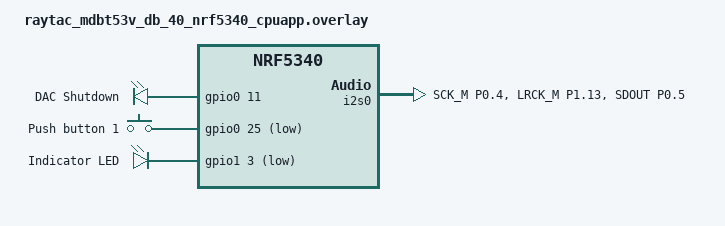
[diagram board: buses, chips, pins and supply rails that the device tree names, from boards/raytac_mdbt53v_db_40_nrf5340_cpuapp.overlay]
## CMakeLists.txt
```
# SPDX-License-Identifier: Apache-2.0

cmake_minimum_required(VERSION 3.20.0)
find_package(Zephyr REQUIRED HINTS $ENV{ZEPHYR_BASE})
project(bap_unicast_server)

target_sources(app PRIVATE
  src/main.c
  src/audio_i2s.c
)

zephyr_sources_ifdef(CONFIG_LIBLC3 src/stream_lc3.c)
zephyr_sources_ifdef(CONFIG_BT_AUDIO_TX src/stream_tx.c)

zephyr_library_include_directories(${ZEPHYR_BASE}/samples/bluetooth)
```

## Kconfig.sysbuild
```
# Copyright 2023 Nordic Semiconductor ASA
# SPDX-License-Identifier: Apache-2.0

source "${ZEPHYR_BASE}/share/sysbuild/Kconfig"

config NRF_DEFAULT_IPC_RADIO
	default y

config NETCORE_IPC_RADIO_BT_HCI_IPC
	default y   
```

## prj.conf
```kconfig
# prj.conf

# ---------------------------------
# 0. Basic GPIO & Button Config
# ---------------------------------
CONFIG_GPIO=y
CONFIG_INPUT=y
CONFIG_LED=y

# ---------------------------------
# 1. Core Bluetooth Subsystem
# ---------------------------------
CONFIG_BT=y
CONFIG_BT_MAX_CONN=4
CONFIG_BT_MAX_PAIRED=4
CONFIG_BT_EXT_ADV=y
CONFIG_BT_PRIVACY=y
CONFIG_BT_SETTINGS=y
CONFIG_BT_DEVICE_APPEARANCE=2369
#0x2369 is the assigned code for an earbud
CONFIG_BT_DEVICE_NAME="nRF5340_LE_Audio"
CONFIG_BT_GATT_DYNAMIC_DB=y
# Enables the GATT Client, allowing the stack to handle and confirm Indications (0x1D)
CONFIG_BT_GATT_CLIENT=y
CONFIG_BT_GATT_AUTO_DISCOVER_CCC=y
# Security - allegedly allows pairing over BLE
CONFIG_BT_SMP=y
# Enhanced ATT and Dependencies
CONFIG_BT_L2CAP_DYNAMIC_CHANNEL=y
CONFIG_BT_L2CAP_ECRED=y
CONFIG_BT_EATT=y
CONFIG_BT_GATT_READ_MULTIPLE=y
# CONFIG_CLOCK_CONTROL_NRF_K32SRC_XTAL=y commented out because its apparently set in .config by default
CONFIG_BT_GAP_AUTO_UPDATE_CONN_PARAMS=n
# Set preferred values based on BT_BAP_CONN_PARAM_RELAXED
CONFIG_BT_PERIPHERAL_PREF_MIN_INT=50
CONFIG_BT_PERIPHERAL_PREF_MAX_INT=70
CONFIG_BT_PERIPHERAL_PREF_LATENCY=0
CONFIG_BT_PERIPHERAL_PREF_TIMEOUT=400

# ---------------------------------
# 2. Security (CRITICAL for LE Audio)
# ---------------------------------
CONFIG_BT_SMP=y
CONFIG_BT_BONDABLE=y

# Persist Bluetooth bonds and identity keys in the board's storage flash area.
CONFIG_SETTINGS=y
CONFIG_SETTINGS_NVS=y
CONFIG_NVS=y
CONFIG_FLASH=y
CONFIG_FLASH_MAP=y

# ---------------------------------
# 3. LE Audio & BAP Settings
# ---------------------------------
CONFIG_BT_AUDIO=y
CONFIG_BT_PERIPHERAL=y
CONFIG_UTF8=y
CONFIG_BT_ISO_PERIPHERAL=y
CONFIG_BT_ISO_TX_BUF_COUNT=3
CONFIG_BT_ISO_RX_BUF_COUNT=5
# # Support an ISO channel per ASE
CONFIG_BT_ISO_MAX_CHAN=4
CONFIG_BT_ISO_RX_MTU=251
CONFIG_BT_ISO_TX_MTU=251
CONFIG_I2S=y
CONFIG_BT_ASCS=y
CONFIG_BT_ASCS_MAX_ASE_SNK_COUNT=1 
# temporarily set ASE_SNK to 1, reset to 2 later
CONFIG_BT_ASCS_MAX_ASE_SRC_COUNT=1
CONFIG_BT_BAP_UNICAST_SERVER=y
CONFIG_BT_PAC_SNK=y
CONFIG_BT_PAC_SNK_NOTIFIABLE=y
CONFIG_BT_PAC_SRC=y
CONFIG_BT_PAC_SRC_NOTIFIABLE=y
# Volume Control
CONFIG_BT_VCP_VOL_REND=y
# Media Control
CONFIG_BT_MCC=y
CONFIG_BT_MCC_READ_MEDIA_STATE=y
CONFIG_BT_MCC_SET_MEDIA_CONTROL_POINT=y
# CONFIG_BT_VCP_VOL_REND_VOCS_INSTANCE_COUNT=0
# CONFIG_BT_VCP_VOL_REND_AICS_INSTANCE_COUNT=0
# # Stereo/headset settings
# CONFIG_BT_CSIP_SET_MEMBER=y
# CONFIG_BT_AUDIO_CONCURRENT_RX_STREAMS_MAX=2
# CONFIG_AUDIO_DECODE_CHANNELS_MAX=2
# CONFIG_AUDIO_SOURCE_I2S=y

# ---------------------------------
# 4. CAP & TMAP (Telephony & Media)
# ---------------------------------
# CONFIG_BT_CAP_ACCEPTOR=y
# CONFIG_BT_TMAP=y

# ---------------------------------
# 5. Codec (LC3) & Hardware
# ---------------------------------
CONFIG_FPU=y
CONFIG_LIBLC3=y
CONFIG_SW_CODEC_LC3_T2_SOFTWARE=y
CONFIG_LC3_ENC_CHAN_MAX=1
CONFIG_LC3_DEC_CHAN_MAX=2
CONFIG_MBEDTLS_ENABLE_HEAP=y
CONFIG_MBEDTLS_HEAP_SIZE=2048
# Increase buffer for incoming stream metadata from Android/iOS
CONFIG_BT_AUDIO_CODEC_CFG_MAX_METADATA_SIZE=64

# ---------------------------------
# 6. Logging
# ---------------------------------
CONFIG_LOG=y
CONFIG_INFO_REPORTING_INTERVAL=5000
CONFIG_USE_SEGGER_RTT=y
CONFIG_RTT_CONSOLE=y
CONFIG_UART_CONSOLE=n
CONFIG_LOG_BACKEND_RTT=y

# ---------------------------------
# 7. Memory & Buffers (For Audio Metadata)
# ---------------------------------
CONFIG_BT_ATT_PREPARE_COUNT=2

# Always enable bidirectional stream support on the server.
# The client may not support it, but the server should be able to handle it if the client does.
# CONFIG_STREAM_BIDIRECTIONAL=y

# ---------------------------------
# 8. Thread Stack Sizes (Required for LE Audio/LC3)
# ---------------------------------
CONFIG_MAIN_STACK_SIZE=8192
CONFIG_SYSTEM_WORKQUEUE_PRIORITY=-1
CONFIG_SYSTEM_WORKQUEUE_STACK_SIZE=4096
CONFIG_BT_RX_STACK_SIZE=4096
```

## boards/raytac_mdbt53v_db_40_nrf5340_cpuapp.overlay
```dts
/* SPDX-License-Identifier: Apache-2.0 */

#include <zephyr/dt-bindings/pinctrl/nrf-pinctrl.h>

&pinctrl {
	i2s0_default: i2s0_default {
		group1 {
			psels = <NRF_PSEL(I2S_SCK_M, 0, 4)>,
					<NRF_PSEL(I2S_LRCK_M, 1, 13)>,
					<NRF_PSEL(I2S_SDOUT, 0, 5)>;
		};
	};

	i2s0_sleep: i2s0_sleep {
		group1 {
			psels = <NRF_PSEL(I2S_SCK_M, 0, 4)>,
					<NRF_PSEL(I2S_LRCK_M, 1, 13)>,
					<NRF_PSEL(I2S_SDOUT, 0, 5)>;
			low-power-enable;
		};
	};
};

/ {
	hw_ctrl {
		compatible = "gpio-leds";

		dac_sd: dac_sd {
			gpios = <&gpio0 11 GPIO_ACTIVE_HIGH>;
			label = "DAC Shutdown";
		};
	};

	aliases {
		dac-sd = &dac_sd;
	};
};

&button0 {
	gpios = <&gpio0 25 (GPIO_PULL_UP | GPIO_ACTIVE_LOW)>;
	label = "Push button 1";
	zephyr,code = <INPUT_KEY_0>;
};

&led0 {
	gpios = <&gpio1 3 GPIO_ACTIVE_LOW>;
	label = "Indicator LED";
};

&i2s0 {
	status = "okay";
	pinctrl-0 = <&i2s0_default>;
	pinctrl-1 = <&i2s0_sleep>;
	pinctrl-names = "default", "sleep";
};

&vregmain {
	regulator-initial-mode = <NRF5X_REG_MODE_LDO>;
};

&vregradio {
	regulator-initial-mode = <NRF5X_REG_MODE_LDO>;
};

&uart0 {
	status = "disabled";
};

&uart1 {
	status = "disabled";
};

&i2c1 {
	status = "disabled";
};

&qspi {
	status = "disabled";
};

&gpio_fwd {
	status = "disabled";
};

&spi4 {
	status = "disabled";
};
```

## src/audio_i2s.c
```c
/*
 * SPDX-License-Identifier: Apache-2.0
 */

#include <errno.h>
#include <stdbool.h>
#include <stdint.h>
#include <string.h>

#include <zephyr/device.h>
#include <zephyr/drivers/gpio.h>
#include <zephyr/drivers/i2s.h>
#include <zephyr/kernel.h>
#include <zephyr/logging/log.h>

#include "audio_i2s.h"

LOG_MODULE_REGISTER(audio_i2s, LOG_LEVEL_INF);

#define I2S_SAMPLE_RATE_HZ       48000U
#define I2S_FRAME_DURATION_US    10000U
#define I2S_SAMPLES_PER_FRAME    ((I2S_SAMPLE_RATE_HZ * I2S_FRAME_DURATION_US) / 1000000U)
#define I2S_CHANNEL_COUNT        2U
#define I2S_TX_BLOCK_SIZE        (I2S_SAMPLES_PER_FRAME * I2S_CHANNEL_COUNT * sizeof(int16_t))
#define I2S_TX_BLOCK_COUNT       4U
#define PCM_QUEUE_DEPTH          6U
#define I2S_SD_MODE_PIN          13U
#define I2S_WORKER_STACK_SIZE    2048U
#define I2S_WORKER_PRIORITY      5

struct audio_pcm_frame {
	bool stop;
	int16_t samples[I2S_SAMPLES_PER_FRAME];
};

K_MEM_SLAB_DEFINE(i2s_tx_slab, I2S_TX_BLOCK_SIZE, I2S_TX_BLOCK_COUNT, 4);
K_MSGQ_DEFINE(pcm_queue, sizeof(struct audio_pcm_frame), PCM_QUEUE_DEPTH, 4);
K_THREAD_STACK_DEFINE(i2s_worker_stack, I2S_WORKER_STACK_SIZE);

static struct k_thread i2s_worker_thread;
static const struct device *const i2s_dev = DEVICE_DT_GET(DT_NODELABEL(i2s0));
static const struct device *const gpio0_dev = DEVICE_DT_GET(DT_NODELABEL(gpio0));
static bool initialized;

static void i2s_worker(void *arg1, void *arg2, void *arg3)
{
	bool tx_started = false;
	uint8_t startup_blocks_queued = 0U;

	ARG_UNUSED(arg1);
	ARG_UNUSED(arg2);
	ARG_UNUSED(arg3);

	while (true) {
		struct audio_pcm_frame frame;
		void *tx_block;
		int err;

		err = k_msgq_get(&pcm_queue, &frame, K_FOREVER);
		if (err != 0) {
			continue;
		}

		if (frame.stop) {
			if (tx_started) {
				err = i2s_trigger(i2s_dev, I2S_DIR_TX, I2S_TRIGGER_DRAIN);
				if (err != 0) {
					LOG_WRN("I2S drain failed (%d); dropping queued audio", err);
					(void)i2s_trigger(i2s_dev, I2S_DIR_TX, I2S_TRIGGER_DROP);
				}
				tx_started = false;
			}
			startup_blocks_queued = 0U;
			continue;
		}

		err = k_mem_slab_alloc(&i2s_tx_slab, &tx_block, K_FOREVER);
		if (err != 0) {
			LOG_ERR("Could not allocate I2S TX block (%d)", err);
			continue;
		}

		int16_t *stereo = tx_block;
		for (size_t i = 0U; i < I2S_SAMPLES_PER_FRAME; i++) {
			/* The current single ASE is mono; duplicate it to both I2S slots. */
			stereo[(i * I2S_CHANNEL_COUNT)] = frame.samples[i];
			stereo[(i * I2S_CHANNEL_COUNT) + 1U] = frame.samples[i];
		}

		err = i2s_write(i2s_dev, tx_block, I2S_TX_BLOCK_SIZE);
		if (err != 0) {
			LOG_WRN("I2S write failed (%d); preparing stream for restart", err);
			k_mem_slab_free(&i2s_tx_slab, tx_block);
			if (i2s_trigger(i2s_dev, I2S_DIR_TX, I2S_TRIGGER_PREPARE) != 0) {
				LOG_ERR("Could not prepare I2S TX after underrun");
			}
			tx_started = false;
			startup_blocks_queued = 0U;
			continue;
		}

		if (!tx_started) {
			startup_blocks_queued++;
			if (startup_blocks_queued < 2U) {
				continue;
			}

			err = i2s_trigger(i2s_dev, I2S_DIR_TX, I2S_TRIGGER_START);
			if (err != 0) {
				LOG_ERR("Could not start I2S TX (%d)", err);
				(void)i2s_trigger(i2s_dev, I2S_DIR_TX, I2S_TRIGGER_PREPARE);
				startup_blocks_queued = 0U;
				continue;
			}
			tx_started = true;
		}
	}
}

int audio_i2s_init(void)
{
	struct i2s_config cfg = {0};
	int err;

	if (initialized) {
		return 0;
	}
	if (!device_is_ready(i2s_dev)) {
		LOG_ERR("I2S device is not ready");
		return -ENODEV;
	}
	if (!device_is_ready(gpio0_dev)) {
		LOG_ERR("GPIO0 device is not ready");
		return -ENODEV;
	}

	/* MAX98357A SD_MODE must be high to enable the amplifier. */
	err = gpio_pin_configure(gpio0_dev, I2S_SD_MODE_PIN, GPIO_OUTPUT_ACTIVE);
	if (err != 0) {
		LOG_ERR("Could not configure P0.%u for MAX98357A SD_MODE (%d)",
			I2S_SD_MODE_PIN, err);
		return err;
	}

	cfg.word_size = 16U;
	cfg.channels = I2S_CHANNEL_COUNT;
	cfg.format = I2S_FMT_DATA_FORMAT_I2S;
	cfg.frame_clk_freq = I2S_SAMPLE_RATE_HZ;
	cfg.block_size = I2S_TX_BLOCK_SIZE;
	cfg.timeout = 1000U;
	cfg.options = I2S_OPT_FRAME_CLK_CONTROLLER | I2S_OPT_BIT_CLK_CONTROLLER;
	cfg.mem_slab = &i2s_tx_slab;

	err = i2s_configure(i2s_dev, I2S_DIR_TX, &cfg);
	if (err != 0) {
		LOG_ERR("I2S configuration failed (%d)", err);
		return err;
	}

	k_thread_create(&i2s_worker_thread, i2s_worker_stack,
			K_THREAD_STACK_SIZEOF(i2s_worker_stack), i2s_worker,
			NULL, NULL, NULL, I2S_WORKER_PRIORITY, 0, K_NO_WAIT);
	initialized = true;
	LOG_INF("I2S TX ready: %u Hz, 16-bit stereo", I2S_SAMPLE_RATE_HZ);

	return 0;
}

int audio_i2s_submit(const int16_t *mono_samples, size_t sample_count)
{
	struct audio_pcm_frame frame = {0};

	if (!initialized || mono_samples == NULL || sample_count != I2S_SAMPLES_PER_FRAME) {
		return -EINVAL;
	}

	memcpy(frame.samples, mono_samples, sizeof(frame.samples));
	return k_msgq_put(&pcm_queue, &frame, K_NO_WAIT);
}

void audio_i2s_stop(void)
{
	struct audio_pcm_frame frame = {.stop = true};

	if (!initialized) {
		return;
	}

	/* Discard pending PCM on stream stop; the worker drains the active I2S block. */
	k_msgq_purge(&pcm_queue);
	if (k_msgq_put(&pcm_queue, &frame, K_NO_WAIT) != 0) {
		LOG_WRN("Could not queue I2S stop request");
	}
}
```

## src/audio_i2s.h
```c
/*
 * SPDX-License-Identifier: Apache-2.0
 */

#ifndef AUDIO_I2S_H
#define AUDIO_I2S_H

#include <stddef.h>
#include <stdint.h>

int audio_i2s_init(void);
int audio_i2s_submit(const int16_t *mono_samples, size_t sample_count);
void audio_i2s_stop(void);

#endif /* AUDIO_I2S_H */
```
